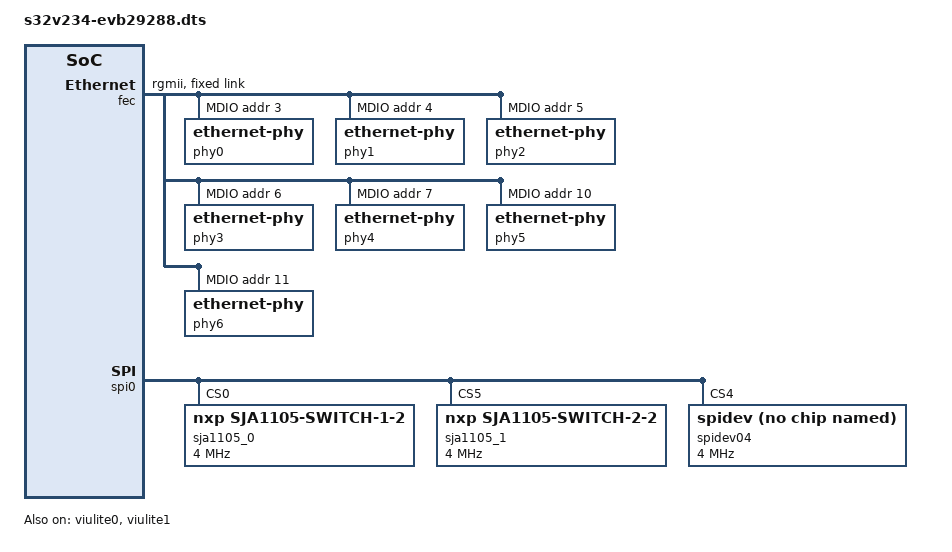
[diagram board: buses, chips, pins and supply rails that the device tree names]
/*
 * Copyright 2015-2016 Freescale Semiconductor, Inc.
 * Copyright 2016-2017 NXP
 *
 * This program is free software; you can redistribute it and/or modify
 * it under the terms of the GNU General Public License as published by
 * the Free Software Foundation; either version 2 of the License, or
 * (at your option) any later version.
 */

/dts-v1/;
#include "s32v234-evb2016q4.dtsi"

&fec {
	phy-mode = "rgmii";
	status = "okay";
	fixed-link {
		speed=<1000>;
		full-duplex;
	};
	mdio {
		#address-cells = <1>;
		#size-cells = <0>;
		phy0: ethernet-phy@3 {
			reg = <3>;
		};
		/* S32V234EVB, rev 29288, has 6 NXP TJA1102 PHYs.*/
		phy1: ethernet-phy@4 {
			reg = <4>;
			max-speed = <100>;
		};
		phy2: ethernet-phy@5 {
			reg = <5>;
			max-speed = <100>;
		};
		phy3: ethernet-phy@6 {
			reg = <6>;
			max-speed = <100>;
		};
		phy4: ethernet-phy@7 {
			reg = <7>;
			max-speed = <100>;
		};
		/*
		 * This assumes that a HW fix was done on S32V234EVB,
		 * rev 29288 in order to avoid the address conflict
		 * with Micrel PHY.
		 */
		phy5: ethernet-phy@10 {
			reg = <10>;
			max-speed = <100>;
		};
		phy6: ethernet-phy@11 {
			reg = <11>;
			max-speed = <100>;
		};
	};
};

&pinctrl {
	status = "okay";

	s32v234-evb {

		pinctrl_qspi0: qspi0grp {
			fsl,pins = <
				S32V234_PAD_PK5__QSPI_A_CS0
				S32V234_PAD_PF12__QSPI_A_CS1
				S32V234_PAD_PK8__QSPI_A_DATA0_IN
				S32V234_PAD_PK8__QSPI_A_DATA0_OUT
				S32V234_PAD_PK9__QSPI_A_DATA1_IN
				S32V234_PAD_PK9__QSPI_A_DATA1_OUT
				S32V234_PAD_PK10__QSPI_A_DATA2_IN
				S32V234_PAD_PK10__QSPI_A_DATA2_OUT
				S32V234_PAD_PK11__QSPI_A_DATA3_IN
				S32V234_PAD_PK11__QSPI_A_DATA3_OUT
				S32V234_PAD_PK6__QSPI_A_SCK
				S32V234_PAD_PK12__QSPI_B_CS0
				S32V234_PAD_PF13__QSPI_B_CS1
				S32V234_PAD_PK15__QSPI_B_DATA0_IN
				S32V234_PAD_PK15__QSPI_B_DATA0_OUT
				S32V234_PAD_PL0__QSPI_B_DATA1_IN
				S32V234_PAD_PL0__QSPI_B_DATA1_OUT
				S32V234_PAD_PL1__QSPI_B_DATA2_IN
				S32V234_PAD_PL1__QSPI_B_DATA2_OUT
				S32V234_PAD_PL2__QSPI_B_DATA3_IN
				S32V234_PAD_PL2__QSPI_B_DATA3_OUT
				S32V234_PAD_PK13__QSPI_B_SCK
			>;
		};

		pinctrl_viulite0: viulite0grp {
			fsl,pins = <
				S32V234_PAD_PD13__VIU0_EN
				S32V234_PAD_PD13__VIU0_PCLK
				S32V234_PAD_PD14__VIU0_EN
				S32V234_PAD_PD14__VIU0_HSYNC
				S32V234_PAD_PD15__VIU0_EN
				S32V234_PAD_PD15__VIU0_VSYNC
				S32V234_PAD_PE0__VIU0_EN
				S32V234_PAD_PE0__VIU0_D8
				S32V234_PAD_PE1__VIU0_EN
				S32V234_PAD_PE1__VIU0_D9
				S32V234_PAD_PE2__VIU0_EN
				S32V234_PAD_PE2__VIU0_D10
				S32V234_PAD_PE3__VIU0_EN
				S32V234_PAD_PE3__VIU0_D11
				S32V234_PAD_PE4__VIU0_EN
				S32V234_PAD_PE4__VIU0_D12
				S32V234_PAD_PE5__VIU0_EN
				S32V234_PAD_PE5__VIU0_D13
				S32V234_PAD_PE6__VIU0_EN
				S32V234_PAD_PE6__VIU0_D14
				S32V234_PAD_PE7__VIU0_EN
				S32V234_PAD_PE7__VIU0_D15
				S32V234_PAD_PE8__VIU0_EN
				S32V234_PAD_PE8__VIU0_D16
				S32V234_PAD_PE9__VIU0_EN
				S32V234_PAD_PE9__VIU0_D17
				S32V234_PAD_PE10__VIU0_EN
				S32V234_PAD_PE10__VIU0_D18
				S32V234_PAD_PE11__VIU0_EN
				S32V234_PAD_PE11__VIU0_D19
				S32V234_PAD_PE12__VIU0_EN
				S32V234_PAD_PE12__VIU0_D20
				S32V234_PAD_PE13__VIU0_EN
				S32V234_PAD_PE13__VIU0_D21
				S32V234_PAD_PE14__VIU0_EN
				S32V234_PAD_PE14__VIU0_D22
				S32V234_PAD_PE15__VIU0_EN
				S32V234_PAD_PE15__VIU0_D23
				>;
		};

		pinctrl_viulite1: viulite1grp {
			fsl,pins = <
				S32V234_PAD_PF0__VIU1_EN
				S32V234_PAD_PF0__VIU1_PCLK
				S32V234_PAD_PF1__VIU1_EN
				S32V234_PAD_PF1__VIU1_HSYNC
				S32V234_PAD_PF2__VIU1_EN
				S32V234_PAD_PF2__VIU1_VSYNC
				S32V234_PAD_PF3__VIU_EN
				S32V234_PAD_PF3__VIU1_D8
				S32V234_PAD_PF4__VIU_EN
				S32V234_PAD_PF4__VIU1_D9
				S32V234_PAD_PF5__VIU_EN
				S32V234_PAD_PF5__VIU1_D10
				S32V234_PAD_PF6__VIU_EN
				S32V234_PAD_PF6__VIU1_D11
				S32V234_PAD_PF7__VIU1_EN
				S32V234_PAD_PF7__VIU1_D12
				S32V234_PAD_PF8__VIU1_EN
				S32V234_PAD_PF8__VIU1_D13
				S32V234_PAD_PF9__VIU1_EN
				S32V234_PAD_PF9__VIU1_D14
				S32V234_PAD_PF10__VIU1_EN
				S32V234_PAD_PF10__VIU1_D15
				S32V234_PAD_PF11__VIU1_EN
				S32V234_PAD_PF11__VIU1_D16
				S32V234_PAD_PF12__VIU1_EN
				S32V234_PAD_PF12__VIU1_D17
				S32V234_PAD_PF13__VIU1_EN
				S32V234_PAD_PF13__VIU1_D18
				S32V234_PAD_PF14__VIU1_EN
				S32V234_PAD_PF14__VIU1_D19
				S32V234_PAD_PF15__VIU1_EN
				S32V234_PAD_PF15__VIU1_D20
				S32V234_PAD_PG0__VIU1_EN
				S32V234_PAD_PG0__VIU1_D21
				S32V234_PAD_PG1__VIU1_EN
				S32V234_PAD_PG1__VIU1_D22
				S32V234_PAD_PG2__VIU1_EN
				S32V234_PAD_PG2__VIU1_D23
				>;
		};

	};
};

&spi0 {
	#address-cells = <1>;
	#size-cells = <0>;

	sja1105_0: sja1105@0 {
		compatible = "nxp,sja1105-switch-1-2";
		spi-max-frequency = <4000000>;
		spi-cpha;
		fsl,spi-cs-sck-delay = <100>;
		fsl,spi-sck-cs-delay = <100>;

		reg = <0>;
		port-0 {
			is-host = <1>;
			speed = <1000>;
			xmii-mode = "RGMII";
			null-phy =  <1>;
		};
		port-1 {
			is-host = <0>;
			speed = <100>;
			xmii-mode = "MII";
			null-phy =  <0>;
		};
		port-2 {
			is-host = <0>;
			speed = <100>;
			xmii-mode = "MII";
			null-phy = <0>;
		};
		port-3 {
			is-host = <0>;
			speed = <1000>;
			xmii-mode = "RGMII";
			null-phy = <0>;
		};
		port-4 {
			is-host = <0>;
			speed = <1000>;
			xmii-mode = "RGMII";
			null-phy = <0>;
		};
	};

	sja1105_1: sja1105@1 {
		compatible = "nxp,sja1105-switch-2-2";
		spi-max-frequency = <4000000>;
		spi-cpha;
		fsl,spi-cs-sck-delay = <100>;
		fsl,spi-sck-cs-delay = <100>;

		reg = <5>;
		port-0 {
			is-host = <1>;
			speed = <1000>;
			xmii-mode = "RGMII";
			null-phy =  <1>;
		};
		port-1 {
			is-host = <0>;
			speed = <100>;
			xmii-mode = "MII";
			null-phy =  <0>;
		};
		port-2 {
			is-host = <0>;
			speed = <100>;
			xmii-mode = "MII";
			null-phy = <0>;
		};
		port-3 {
			is-host = <0>;
			speed = <100>;
			xmii-mode = "MII";
			null-phy = <0>;
		};
		port-4 {
			is-host = <0>;
			speed = <100>;
			xmii-mode = "MII";
			null-phy = <0>;
		};
	};

	spidev04: spidev@4 {
		compatible = "spidev";
		spi-max-frequency = <4000000>;
		reg = <4>;
	};
};

&viulite0{
	pinctrl-names = "default";
	pinctrl-0 = <&pinctrl_viulite0>;
	status = "okay";
};

&viulite1{
	pinctrl-names = "default";
	pinctrl-0 = <&pinctrl_viulite1>;
	status = "okay";
};

&pinctrl {
	status = "okay";

	s32v234-evb29288 {

		pinctrl_dcu: dcugrp {
			fsl,pins = <
				S32V234_PAD_PH8__DCU_HSYNC_C1
				S32V234_PAD_PH9__DCU_VSYNC_C2
				S32V234_PAD_PH10__DCU_DE_C3
				S32V234_PAD_PH12__DCU_PCLK_D1_DSE_80
				S32V234_PAD_PH13__DCU_R0_D2
				S32V234_PAD_PH14__DCU_R1_D3
				S32V234_PAD_PH15__DCU_R2_D4
				S32V234_PAD_PJ0__DCU_R3_D5
				S32V234_PAD_PJ1__DCU_R4_D6
				S32V234_PAD_PJ2__DCU_R5_D7
				S32V234_PAD_PJ3__DCU_R6_D8
				S32V234_PAD_PJ4__DCU_R7_D9
				S32V234_PAD_PJ5__DCU_G0_D10
				S32V234_PAD_PJ6__DCU_G1_D11
				S32V234_PAD_PJ7__DCU_G2_D12
				S32V234_PAD_PJ8__DCU_G3_D13
				S32V234_PAD_PJ9__DCU_G4_D14
				S32V234_PAD_PJ10__DCU_G5_D15
				S32V234_PAD_PJ11__DCU_G6_D16
				S32V234_PAD_PJ12__DCU_G7_D17
				S32V234_PAD_PJ13__DCU_B0_D18
				S32V234_PAD_PJ14__DCU_B1_D19
				S32V234_PAD_PJ15__DCU_B2_D20
				S32V234_PAD_PK0__DCU_B3_D21
				S32V234_PAD_PK1__DCU_B4_D22
				S32V234_PAD_PK2__DCU_B5_D23
				S32V234_PAD_PK3__DCU_B6_D24
				S32V234_PAD_PK4__DCU_B7_D25
				>;
		};
	};
};

/*
&qspi0 {
	pinctrl-names = "default";
	pinctrl-0 = <&pinctrl_qspi0>;
	status = "okay";

	flash0: s25fl512s@0 {
		reg = <0>;
		#address-cells = <1>;
		#size-cells = <1>;
		compatible = "spansion,s25fl512s";
		spi-max-frequency = <66000000>;
		m25p,fast-read;

		partition@0 {
			label = "u-boot";
			reg = <0x0 0x80000>;
		};

		partition@80000 {
			label = "env";
			reg = <0x80000 0x40000>;
		};

		partition@100000 {
			label = "kernel";
			reg = <0x100000 0xA00000>;
		};

		partition@B00000 {
			label = "dtb";
			reg = <0xB00000 0x40000>;
		};

		partition@C00000 {
			label = "rootfs";
			reg = <0xC00000 0x3400000>;
		};
	};

	flash1: s25fl512s@1 {
		reg = <1>;
		#address-cells = <1>;
		#size-cells = <1>;
		compatible = "spansion,s25fl512s";
		spi-max-frequency = <66000000>;
		m25p,fast-read;
	};
};
*/
